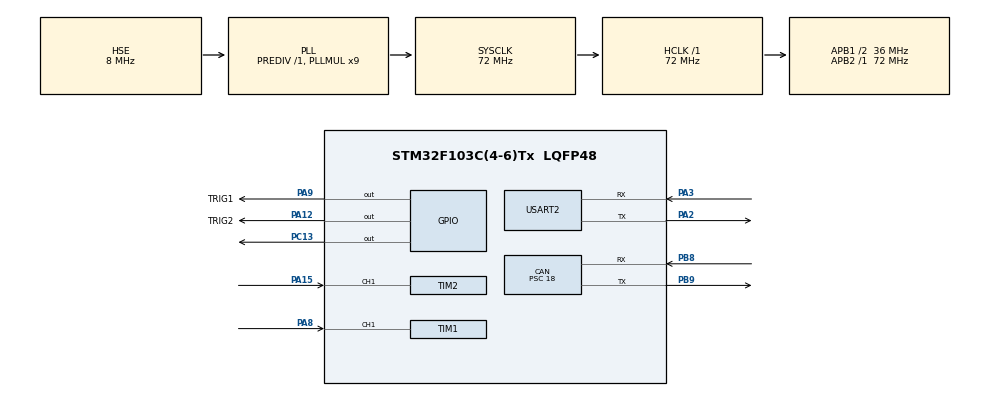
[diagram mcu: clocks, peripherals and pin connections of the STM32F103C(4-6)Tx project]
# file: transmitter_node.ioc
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CAN.BS1=CAN_BS1_2TQ
CAN.CalculateBaudRate=500000
CAN.CalculateTimeBit=2000.00
CAN.CalculateTimeQuantum=500.0
CAN.Prescaler=18
FREERTOS.Tasks01=us1Task,24,128,us1Task_init,Default,NULL,Dynamic,NULL,NULL;us2Task,24,128,us2Task_init,Default,NULL,Dynamic,NULL,NULL;TxTask,24,128,TxTask_init,Default,NULL,Dynamic,NULL,NULL
FREERTOS.configTOTAL_HEAP_SIZE=2000
Mcu.Family=STM32F1
Mcu.Name=STM32F103C(4-6)Tx
Mcu.Package=LQFP48
NVIC.PriorityGroup=NVIC_PRIORITYGROUP_4
NVIC.TIM1_CC_IRQn=true\:5\:0\:false\:false\:true\:true\:true\:true
NVIC.TIM2_IRQn=true\:5\:0\:false\:false\:true\:true\:true\:true
NVIC.TIM3_IRQn=true\:15\:0\:false\:false\:true\:false\:false\:true
NVIC.TimeBase=TIM3_IRQn
NVIC.TimeBaseIP=TIM3
NVIC.USB_LP_CAN1_RX0_IRQn=true\:5\:0\:false\:false\:true\:true\:true\:true
PA12.GPIO_Label=TRIG2
PA12.Signal=GPIO_Output
PA13.Mode=Serial_Wire
PA13.Signal=SYS_JTMS-SWDIO
PA14.Mode=Serial_Wire
PA14.Signal=SYS_JTCK-SWCLK
PA15.Signal=S_TIM2_CH1_ETR
PA2.Mode=Asynchronous
PA2.Signal=USART2_TX
PA3.Mode=Asynchronous
PA3.Signal=USART2_RX
PA8.Signal=S_TIM1_CH1
PA9.GPIO_Label=TRIG1
PA9.Signal=GPIO_Output
PB8.Mode=CAN_Activate
PB8.Signal=CAN_RX
PB9.Mode=CAN_Activate
PB9.Signal=CAN_TX
PC13-TAMPER-RTC.Signal=GPIO_Output
PD0-OSC_IN.Mode=HSE-External-Oscillator
PD0-OSC_IN.Signal=RCC_OSC_IN
PD1-OSC_OUT.Mode=HSE-External-Oscillator
PD1-OSC_OUT.Signal=RCC_OSC_OUT
ProjectManager.HeapSize=0x200
ProjectManager.StackSize=0x400
ProjectManager.TargetToolchain=MDK-ARM V5.32
RCC.AHBFreq_Value=72000000
RCC.APB1CLKDivider=RCC_HCLK_DIV2
RCC.APB1Freq_Value=36000000
RCC.APB1TimFreq_Value=72000000
RCC.APB2Freq_Value=72000000
RCC.APB2TimFreq_Value=72000000
RCC.HCLKFreq_Value=72000000
RCC.PLLMUL=RCC_PLL_MUL9
RCC.PLLSourceVirtual=RCC_PLLSOURCE_HSE
RCC.SYSCLKFreq_VALUE=72000000
RCC.SYSCLKSource=RCC_SYSCLKSOURCE_PLLCLK
RCC.USBFreq_Value=72000000
SH.S_TIM1_CH1.0=TIM1_CH1,Input_Capture1_from_TI1
SH.S_TIM2_CH1_ETR.0=TIM2_CH1,Input_Capture1_from_TI1
TIM1.Channel-Input_Capture1_from_TI1=TIM_CHANNEL_1
TIM1.Period=0xffff-1
TIM1.Prescaler=72-1
TIM2.Channel-Input_Capture1_from_TI1=TIM_CHANNEL_1
TIM2.Period=0xFFFF-1
TIM2.Prescaler=72-1
USART2.VirtualMode=VM_ASYNC
VP_FREERTOS_VS_CMSIS_V2.Mode=CMSIS_V2
VP_SYS_VS_tim3.Mode=TIM3
board=custom

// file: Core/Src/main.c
/**
 * @file		main.c
 * @defgroup	Transmitter_Node Transmitter Node
 * @ingroup 	Transmitter_Node
 * @brief   	CAN Transmitter node for the Reversing Radar system.
 *
 * This node acquires distance information and transmits it
 * over CAN to the receiver node.
 *
 * This file contains the main function for the transmitter node, which:
 *   - Initializes STM32 peripherals (GPIO, TIM, CAN, UART)
 *   - Handles ultrasonic sensor measurements
 *   - Starts FreeRTOS scheduler with tasks for sensor reading and CAN transmission
 *
 * @note	HAL_TIM_IC_CaptureCallback is forwarded to the ultrasonic sensor module.
 */
#include "main.h"
#include "cmsis_os.h"
#include "app_tasks.h"
#include "usensor.h"

/* ---------------------------------------------------------------------------
 * Private variables
 * ---------------------------------------------------------------------------*/
TIM_HandleTypeDef htim1;  /**< Timer 1 handle */
TIM_HandleTypeDef htim2;  /**< Timer 2 handle */
CAN_HandleTypeDef hcan;   /**< CAN handle */
UART_HandleTypeDef huart2; /**< UART2 handle */

/* RTOS thread handles */
osThreadId_t us1TaskHandle; /**< Ultrasonic sensor 1 task handle */
osThreadId_t us2TaskHandle; /**< Ultrasonic sensor 2 task handle */
osThreadId_t TxTaskHandle;  /**< CAN transmit task handle */

/* CAN transmission variables */
CAN_TxHeaderTypeDef TxHeader; /**< CAN transmit header */
CAN_FilterTypeDef canfilterconfig; /**< CAN filter config */
uint32_t TxMailbox;                 /**< CAN mailbox index */
uint8_t TxData[8];                  /**< CAN transmit buffer */

/* Ultrasonic sensor distances */
uint8_t Distance_1 = 0; /**< Distance measured by sensor 1 */
uint8_t Distance_2 = 0; /**< Distance measured by sensor 2 */

/* ---------------------------------------------------------------------------
 * Function prototypes
 * ---------------------------------------------------------------------------*/
void SystemClock_Config(void);
static void MX_GPIO_Init(void);
static void MX_TIM1_Init(void);
static void MX_TIM2_Init(void);
static void MX_CAN_Init(void);
static void MX_USART2_UART_Init(void);

/**
 * @brief  Main program entry point.
 * @retval int (not used, FreeRTOS scheduler takes over)
 */
int main(void)
{
    HAL_Init();
    SystemClock_Config();

    /* Initialize peripherals */
    MX_GPIO_Init();
    MX_TIM1_Init();
    MX_TIM2_Init();
    MX_CAN_Init();
    MX_USART2_UART_Init();

    /* Start timers in input capture mode for ultrasonic sensors */
    HAL_TIM_IC_Start_IT(&htim1, TIM_CHANNEL_1);
    HAL_TIM_IC_Start_IT(&htim2, TIM_CHANNEL_1);

    /* Start CAN controller */
    HAL_CAN_Start(&hcan);

    /* Initialize FreeRTOS */
    osKernelInitialize();

    /* Create tasks */
    us1TaskHandle = osThreadNew(us1Task_init, NULL, &(osThreadAttr_t){.name="us1Task", .stack_size=512, .priority=osPriorityNormal});
    us2TaskHandle = osThreadNew(us2Task_init, NULL, &(osThreadAttr_t){.name="us2Task", .stack_size=512, .priority=osPriorityNormal});
    TxTaskHandle  = osThreadNew(TxTask_init, NULL,  &(osThreadAttr_t){.name="TxTask",  .stack_size=512, .priority=osPriorityNormal});

    /* Start scheduler */
    osKernelStart();

    while (1) { } /**< Infinite loop: should never reach here */
}

/**
 * @brief  HAL Timer Input Capture callback
 * @param  htim: Pointer to the timer handle
 * @note   Forwarded to ultrasonic sensor module
 */
void HAL_TIM_IC_CaptureCallback(TIM_HandleTypeDef *htim)
{
    USensor_TIM_IC_Callback(htim);
}

void SystemClock_Config(void)
{
  RCC_OscInitTypeDef RCC_OscInitStruct = {0};
  RCC_ClkInitTypeDef RCC_ClkInitStruct = {0};

  /** Initializes the RCC Oscillators according to the specified parameters
  * in the RCC_OscInitTypeDef structure.
  */
  RCC_OscInitStruct.OscillatorType = RCC_OSCILLATORTYPE_HSE;
  RCC_OscInitStruct.HSEState = RCC_HSE_ON;
  RCC_OscInitStruct.HSEPredivValue = RCC_HSE_PREDIV_DIV1;
  RCC_OscInitStruct.HSIState = RCC_HSI_ON;
  RCC_OscInitStruct.PLL.PLLState = RCC_PLL_ON;
  RCC_OscInitStruct.PLL.PLLSource = RCC_PLLSOURCE_HSE;
  RCC_OscInitStruct.PLL.PLLMUL = RCC_PLL_MUL9;
  if (HAL_RCC_OscConfig(&RCC_OscInitStruct) != HAL_OK)
  {
    Error_Handler();
  }
  /** Initializes the CPU, AHB and APB buses clocks
  */
  RCC_ClkInitStruct.ClockType = RCC_CLOCKTYPE_HCLK|RCC_CLOCKTYPE_SYSCLK
                              |RCC_CLOCKTYPE_PCLK1|RCC_CLOCKTYPE_PCLK2;
  RCC_ClkInitStruct.SYSCLKSource = RCC_SYSCLKSOURCE_PLLCLK;
  RCC_ClkInitStruct.AHBCLKDivider = RCC_SYSCLK_DIV1;
  RCC_ClkInitStruct.APB1CLKDivider = RCC_HCLK_DIV2;
  RCC_ClkInitStruct.APB2CLKDivider = RCC_HCLK_DIV1;

  if (HAL_RCC_ClockConfig(&RCC_ClkInitStruct, FLASH_LATENCY_2) != HAL_OK)
  {
    Error_Handler();
  }
}

static void MX_GPIO_Init(void)
{
  GPIO_InitTypeDef GPIO_InitStruct = {0};

  /* GPIO Ports Clock Enable */
  __HAL_RCC_GPIOC_CLK_ENABLE();
  __HAL_RCC_GPIOD_CLK_ENABLE();
  __HAL_RCC_GPIOA_CLK_ENABLE();
  __HAL_RCC_GPIOB_CLK_ENABLE();

  /*Configure GPIO pin Output Level */
  HAL_GPIO_WritePin(GPIOC, GPIO_PIN_13, GPIO_PIN_RESET);

  /*Configure GPIO pin Output Level */
  HAL_GPIO_WritePin(GPIOA, TRIG1_Pin|TRIG2_Pin, GPIO_PIN_RESET);

  /*Configure GPIO pin : PC13 */
  GPIO_InitStruct.Pin = GPIO_PIN_13;
  GPIO_InitStruct.Mode = GPIO_MODE_OUTPUT_PP;
  GPIO_InitStruct.Pull = GPIO_NOPULL;
  GPIO_InitStruct.Speed = GPIO_SPEED_FREQ_LOW;
  HAL_GPIO_Init(GPIOC, &GPIO_InitStruct);

  /*Configure GPIO pins : TRIG1_Pin TRIG2_Pin */
  GPIO_InitStruct.Pin = TRIG1_Pin|TRIG2_Pin;
  GPIO_InitStruct.Mode = GPIO_MODE_OUTPUT_PP;
  GPIO_InitStruct.Pull = GPIO_NOPULL;
  GPIO_InitStruct.Speed = GPIO_SPEED_FREQ_LOW;
  HAL_GPIO_Init(GPIOA, &GPIO_InitStruct);

}

static void MX_TIM1_Init(void)
{
  TIM_MasterConfigTypeDef sMasterConfig = {0};
  TIM_IC_InitTypeDef sConfigIC = {0};

  htim1.Instance = TIM1;
  htim1.Init.Prescaler = 72-1;
  htim1.Init.CounterMode = TIM_COUNTERMODE_UP;
  htim1.Init.Period = 0xffff-1;
  htim1.Init.ClockDivision = TIM_CLOCKDIVISION_DIV1;
  htim1.Init.RepetitionCounter = 0;
  htim1.Init.AutoReloadPreload = TIM_AUTORELOAD_PRELOAD_DISABLE;
  if (HAL_TIM_IC_Init(&htim1) != HAL_OK)
  {
    Error_Handler();
  }
  sMasterConfig.MasterOutputTrigger = TIM_TRGO_RESET;
  sMasterConfig.MasterSlaveMode = TIM_MASTERSLAVEMODE_DISABLE;
  if (HAL_TIMEx_MasterConfigSynchronization(&htim1, &sMasterConfig) != HAL_OK)
  {
    Error_Handler();
  }
  sConfigIC.ICPolarity = TIM_INPUTCHANNELPOLARITY_RISING;
  sConfigIC.ICSelection = TIM_ICSELECTION_DIRECTTI;
  sConfigIC.ICPrescaler = TIM_ICPSC_DIV1;
  sConfigIC.ICFilter = 0;
  if (HAL_TIM_IC_ConfigChannel(&htim1, &sConfigIC, TIM_CHANNEL_1) != HAL_OK)
  {
    Error_Handler();
  }
}

static void MX_TIM2_Init(void)
{
  TIM_MasterConfigTypeDef sMasterConfig = {0};
  TIM_IC_InitTypeDef sConfigIC = {0};

  htim2.Instance = TIM2;
  htim2.Init.Prescaler = 72-1;
  htim2.Init.CounterMode = TIM_COUNTERMODE_UP;
  htim2.Init.Period = 0xFFFF-1;
  htim2.Init.ClockDivision = TIM_CLOCKDIVISION_DIV1;
  htim2.Init.AutoReloadPreload = TIM_AUTORELOAD_PRELOAD_DISABLE;
  if (HAL_TIM_IC_Init(&htim2) != HAL_OK)
  {
    Error_Handler();
  }
  sMasterConfig.MasterOutputTrigger = TIM_TRGO_RESET;
  sMasterConfig.MasterSlaveMode = TIM_MASTERSLAVEMODE_DISABLE;
  if (HAL_TIMEx_MasterConfigSynchronization(&htim2, &sMasterConfig) != HAL_OK)
  {
    Error_Handler();
  }
  sConfigIC.ICPolarity = TIM_INPUTCHANNELPOLARITY_RISING;
  sConfigIC.ICSelection = TIM_ICSELECTION_DIRECTTI;
  sConfigIC.ICPrescaler = TIM_ICPSC_DIV1;
  sConfigIC.ICFilter = 0;
  if (HAL_TIM_IC_ConfigChannel(&htim2, &sConfigIC, TIM_CHANNEL_1) != HAL_OK)
  {
    Error_Handler();
  }
}

static void MX_CAN_Init(void)
{
  hcan.Instance = CAN1;
  hcan.Init.Prescaler = 18;
  hcan.Init.Mode = CAN_MODE_NORMAL;
  hcan.Init.SyncJumpWidth = CAN_SJW_1TQ;
  hcan.Init.TimeSeg1 = CAN_BS1_2TQ;
  hcan.Init.TimeSeg2 = CAN_BS2_1TQ;
  hcan.Init.TimeTriggeredMode = DISABLE;
  hcan.Init.AutoBusOff = DISABLE;
  hcan.Init.AutoWakeUp = DISABLE;
  hcan.Init.AutoRetransmission = DISABLE;
  hcan.Init.ReceiveFifoLocked = DISABLE;
  hcan.Init.TransmitFifoPriority = DISABLE;
  if (HAL_CAN_Init(&hcan) != HAL_OK)
  {
    Error_Handler();
  }
	/* USER CODE BEGIN CAN_Config */
	/**
	* @brief  Configure CAN transmit header and filters
	* @details
	* This block sets up the CAN message header for transmitting data
	* and configures the filter to accept messages from the receiver node.
	*/

	/* Configure CAN transmit header */
	TxHeader.DLC = 2;
	TxHeader.ExtId = 0;
	TxHeader.IDE = CAN_ID_STD;      /**< Standard CAN frame */
	TxHeader.RTR = CAN_RTR_DATA;    /**< Data frame */
	TxHeader.StdId = 0x103;         /**< Transmitter ID */
	TxHeader.TransmitGlobalTime = DISABLE;

	/* Configure CAN filter */
	canfilterconfig.FilterActivation = CAN_FILTER_ENABLE;
	canfilterconfig.FilterBank = 1;                         /**< Filter bank index */
	canfilterconfig.FilterFIFOAssignment = CAN_RX_FIFO0;
	canfilterconfig.FilterIdHigh = 0x104 << 5;              /**< Accept messages from ID 0x104 */
	canfilterconfig.FilterIdLow = 0x0000;
	canfilterconfig.FilterMaskIdHigh = 0x104 << 5;          /**< Mask to match ID 0x104 */
	canfilterconfig.FilterMaskIdLow = 0x0000;
	canfilterconfig.FilterMode = CAN_FILTERMODE_IDMASK;     /**< ID mask mode */
	canfilterconfig.FilterScale = CAN_FILTERSCALE_32BIT;    /**< 32-bit filter scale */
	canfilterconfig.SlaveStartFilterBank = 0;              /**< Only relevant for dual CAN controllers */

	HAL_CAN_ConfigFilter(&hcan, &canfilterconfig); /**< Apply filter configuration */
	/* USER CODE END CAN_Config */
}

static void MX_USART2_UART_Init(void)
{
  huart2.Instance = USART2;
  huart2.Init.BaudRate = 115200;
  huart2.Init.WordLength = UART_WORDLENGTH_8B;
  huart2.Init.StopBits = UART_STOPBITS_1;
  huart2.Init.Parity = UART_PARITY_NONE;
  huart2.Init.Mode = UART_MODE_TX_RX;
  huart2.Init.HwFlowCtl = UART_HWCONTROL_NONE;
  huart2.Init.OverSampling = UART_OVERSAMPLING_16;
  if (HAL_UART_Init(&huart2) != HAL_OK)
  {
    Error_Handler();
  }
}

/**
 * @brief  Error Handler
 */
void Error_Handler(void)
{
    __disable_irq();
    while (1) {}
}
